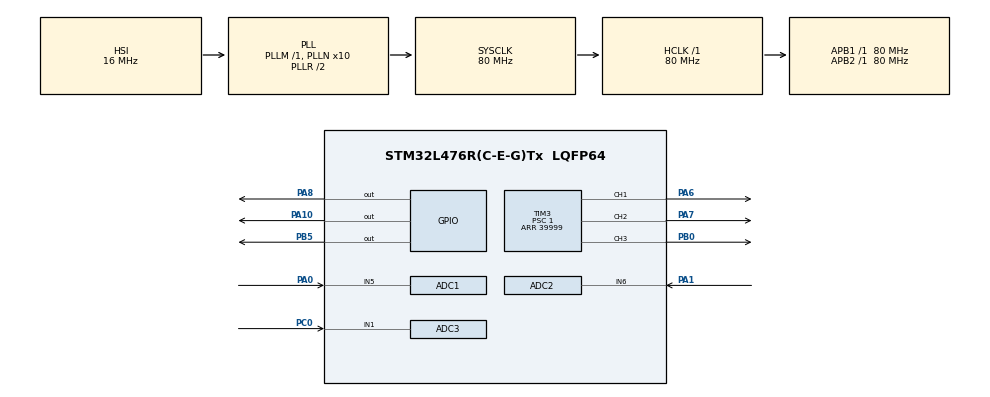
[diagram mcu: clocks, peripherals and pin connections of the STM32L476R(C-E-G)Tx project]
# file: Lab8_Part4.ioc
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ADC1.Channel-0\#ChannelRegularConversion=ADC_CHANNEL_5
ADC1.NbrOfConversionFlag=1
ADC1.OffsetNumber-0\#ChannelRegularConversion=ADC_OFFSET_NONE
ADC1.Rank-0\#ChannelRegularConversion=1
ADC1.SamplingTime-0\#ChannelRegularConversion=ADC_SAMPLETIME_2CYCLES_5
ADC1.master=1
ADC2.Channel-0\#ChannelRegularConversion=ADC_CHANNEL_6
ADC2.NbrOfConversionFlag=1
ADC2.OffsetNumber-0\#ChannelRegularConversion=ADC_OFFSET_NONE
ADC2.Rank-0\#ChannelRegularConversion=1
ADC2.SamplingTime-0\#ChannelRegularConversion=ADC_SAMPLETIME_2CYCLES_5
ADC3.Channel-0\#ChannelRegularConversion=ADC_CHANNEL_1
ADC3.NbrOfConversionFlag=1
ADC3.OffsetNumber-0\#ChannelRegularConversion=ADC_OFFSET_NONE
ADC3.Rank-0\#ChannelRegularConversion=1
ADC3.SamplingTime-0\#ChannelRegularConversion=ADC_SAMPLETIME_2CYCLES_5
Mcu.Family=STM32L4
Mcu.Name=STM32L476R(C-E-G)Tx
Mcu.Package=LQFP64
NVIC.PriorityGroup=NVIC_PRIORITYGROUP_4
NVIC.TIM1_UP_TIM16_IRQn=true\:0\:0\:false\:false\:true\:true\:true\:true
PA0.Signal=ADCx_IN5
PA1.Signal=ADCx_IN6
PA10.Signal=GPIO_Output
PA13\ (JTMS-SWDIO).GPIO_Label=TMS
PA13\ (JTMS-SWDIO).Mode=Serial_Wire
PA13\ (JTMS-SWDIO).Signal=SYS_JTMS-SWDIO
PA14\ (JTCK-SWCLK).GPIO_Label=TCK
PA14\ (JTCK-SWCLK).Mode=Serial_Wire
PA14\ (JTCK-SWCLK).Signal=SYS_JTCK-SWCLK
PA6.Signal=S_TIM3_CH1
PA7.Signal=S_TIM3_CH2
PA8.Signal=GPIO_Output
PB0.Signal=S_TIM3_CH3
PB3\ (JTDO-TRACESWO).GPIO_Label=SWO
PB3\ (JTDO-TRACESWO).Signal=SYS_JTDO-SWO
PB5.Signal=GPIO_Output
PC0.Signal=ADCx_IN1
PC14-OSC32_IN\ (PC14).Mode=LSE-External-Oscillator
PC14-OSC32_IN\ (PC14).Signal=RCC_OSC32_IN
PC15-OSC32_OUT\ (PC15).Mode=LSE-External-Oscillator
PC15-OSC32_OUT\ (PC15).Signal=RCC_OSC32_OUT
PH0-OSC_IN\ (PH0).Signal=RCC_OSC_IN
PH1-OSC_OUT\ (PH1).Signal=RCC_OSC_OUT
ProjectManager.HeapSize=0x200
ProjectManager.StackSize=0x400
ProjectManager.TargetToolchain=STM32CubeIDE
RCC.ADCFreq_Value=64000000
RCC.AHBFreq_Value=80000000
RCC.APB1Freq_Value=80000000
RCC.APB1TimFreq_Value=80000000
RCC.APB2Freq_Value=80000000
RCC.APB2TimFreq_Value=80000000
RCC.CortexFreq_Value=80000000
RCC.HCLKFreq_Value=80000000
RCC.HSE_VALUE=8000000
RCC.HSI_VALUE=16000000
RCC.MSI_VALUE=4000000
RCC.PLLN=10
RCC.PLLSourceVirtual=RCC_PLLSOURCE_HSI
RCC.PREFETCH_ENABLE=1
RCC.SYSCLKFreq_VALUE=80000000
RCC.SYSCLKSource=RCC_SYSCLKSOURCE_PLLCLK
RCC.USBFreq_Value=64000000
RCC.VCOOutputFreq_Value=160000000
SH.ADCx_IN1.0=ADC3_IN1,IN1-Single-Ended
SH.ADCx_IN5.0=ADC1_IN5,IN5-Single-Ended
SH.ADCx_IN6.0=ADC2_IN6,IN6-Single-Ended
SH.S_TIM3_CH1.0=TIM3_CH1,PWM Generation1 CH1
SH.S_TIM3_CH2.0=TIM3_CH2,PWM Generation2 CH2
SH.S_TIM3_CH3.0=TIM3_CH3,PWM Generation3 CH3
TIM16.Period=999
TIM16.Prescaler=7999
TIM3.AutoReloadPreload=TIM_AUTORELOAD_PRELOAD_ENABLE
TIM3.Channel-PWM\ Generation1\ CH1=TIM_CHANNEL_1
TIM3.Channel-PWM\ Generation2\ CH2=TIM_CHANNEL_2
TIM3.Channel-PWM\ Generation3\ CH3=TIM_CHANNEL_3
TIM3.Period=39999
TIM3.Prescaler=1
VP_TIM16_VS_ClockSourceINT.Mode=Enable_Timer
VP_TIM3_VS_ClockSourceINT.Mode=Internal
board=NUCLEO-L476RG

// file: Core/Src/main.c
/* USER CODE BEGIN Header */
/**
  ******************************************************************************
  * @file           : main.c
  * @brief          : Main program body
  ******************************************************************************
  * @attention
  *
  * Copyright (c) 2024 STMicroelectronics.
  * All rights reserved.
  *
  * This software is licensed under terms that can be found in the LICENSE file
  * in the root directory of this software component.
  * If no LICENSE file comes with this software, it is provided AS-IS.
  *
  ******************************************************************************
  */
/* USER CODE END Header */
#include "main.h"

ADC_HandleTypeDef hadc1;
ADC_HandleTypeDef hadc2;
ADC_HandleTypeDef hadc3;

TIM_HandleTypeDef htim3;
TIM_HandleTypeDef htim16;

void SystemClock_Config(void);
void PeriphCommonClock_Config(void);
static void MX_GPIO_Init(void);
static void MX_ADC1_Init(void);
static void MX_ADC2_Init(void);
static void MX_ADC3_Init(void);
static void MX_TIM3_Init(void);
static void MX_TIM16_Init(void);

int main(void)
{

  /* MCU Configuration--------------------------------------------------------*/

  /* Reset of all peripherals, Initializes the Flash interface and the Systick. */
  HAL_Init();

  /* Configure the system clock */
  SystemClock_Config();

  /* Configure the peripherals common clocks */
  PeriphCommonClock_Config();

  /* Initialize all configured peripherals */
  MX_GPIO_Init();
  MX_ADC1_Init();
  MX_ADC2_Init();
  MX_ADC3_Init();
  MX_TIM3_Init();
  MX_TIM16_Init();
  /* USER CODE BEGIN 2 */
  HAL_TIM_Base_Start_IT(&htim16); // Start Timer16
  HAL_TIM_PWM_Start(&htim3, TIM_CHANNEL_1); // start PWM on Timer3’s Channel 1
  HAL_TIM_PWM_Start(&htim3, TIM_CHANNEL_2); // start PWM on Timer3’s Channel 2
  HAL_TIM_PWM_Start(&htim3, TIM_CHANNEL_3); // start PWM on Timer3’s Channel 3
  /* USER CODE END 2 */

  /* Infinite loop */
  while (1)
  {

  }
}

void SystemClock_Config(void)
{
  RCC_OscInitTypeDef RCC_OscInitStruct = {0};
  RCC_ClkInitTypeDef RCC_ClkInitStruct = {0};

  /** Configure the main internal regulator output voltage
  */
  if (HAL_PWREx_ControlVoltageScaling(PWR_REGULATOR_VOLTAGE_SCALE1) != HAL_OK)
  {
    Error_Handler();
  }

  /** Initializes the RCC Oscillators according to the specified parameters
  * in the RCC_OscInitTypeDef structure.
  */
  RCC_OscInitStruct.OscillatorType = RCC_OSCILLATORTYPE_HSI;
  RCC_OscInitStruct.HSIState = RCC_HSI_ON;
  RCC_OscInitStruct.HSICalibrationValue = RCC_HSICALIBRATION_DEFAULT;
  RCC_OscInitStruct.PLL.PLLState = RCC_PLL_ON;
  RCC_OscInitStruct.PLL.PLLSource = RCC_PLLSOURCE_HSI;
  RCC_OscInitStruct.PLL.PLLM = 1;
  RCC_OscInitStruct.PLL.PLLN = 10;
  RCC_OscInitStruct.PLL.PLLP = RCC_PLLP_DIV7;
  RCC_OscInitStruct.PLL.PLLQ = RCC_PLLQ_DIV2;
  RCC_OscInitStruct.PLL.PLLR = RCC_PLLR_DIV2;
  if (HAL_RCC_OscConfig(&RCC_OscInitStruct) != HAL_OK)
  {
    Error_Handler();
  }

  /** Initializes the CPU, AHB and APB buses clocks
  */
  RCC_ClkInitStruct.ClockType = RCC_CLOCKTYPE_HCLK|RCC_CLOCKTYPE_SYSCLK
                              |RCC_CLOCKTYPE_PCLK1|RCC_CLOCKTYPE_PCLK2;
  RCC_ClkInitStruct.SYSCLKSource = RCC_SYSCLKSOURCE_PLLCLK;
  RCC_ClkInitStruct.AHBCLKDivider = RCC_SYSCLK_DIV1;
  RCC_ClkInitStruct.APB1CLKDivider = RCC_HCLK_DIV1;
  RCC_ClkInitStruct.APB2CLKDivider = RCC_HCLK_DIV1;

  if (HAL_RCC_ClockConfig(&RCC_ClkInitStruct, FLASH_LATENCY_4) != HAL_OK)
  {
    Error_Handler();
  }
}

void PeriphCommonClock_Config(void)
{
  RCC_PeriphCLKInitTypeDef PeriphClkInit = {0};

  /** Initializes the peripherals clock
  */
  PeriphClkInit.PeriphClockSelection = RCC_PERIPHCLK_ADC;
  PeriphClkInit.AdcClockSelection = RCC_ADCCLKSOURCE_PLLSAI1;
  PeriphClkInit.PLLSAI1.PLLSAI1Source = RCC_PLLSOURCE_HSI;
  PeriphClkInit.PLLSAI1.PLLSAI1M = 1;
  PeriphClkInit.PLLSAI1.PLLSAI1N = 8;
  PeriphClkInit.PLLSAI1.PLLSAI1P = RCC_PLLP_DIV7;
  PeriphClkInit.PLLSAI1.PLLSAI1Q = RCC_PLLQ_DIV2;
  PeriphClkInit.PLLSAI1.PLLSAI1R = RCC_PLLR_DIV2;
  PeriphClkInit.PLLSAI1.PLLSAI1ClockOut = RCC_PLLSAI1_ADC1CLK;
  if (HAL_RCCEx_PeriphCLKConfig(&PeriphClkInit) != HAL_OK)
  {
    Error_Handler();
  }
}

static void MX_ADC1_Init(void)
{

  ADC_MultiModeTypeDef multimode = {0};
  ADC_ChannelConfTypeDef sConfig = {0};

  /** Common config
  */
  hadc1.Instance = ADC1;
  hadc1.Init.ClockPrescaler = ADC_CLOCK_ASYNC_DIV1;
  hadc1.Init.Resolution = ADC_RESOLUTION_12B;
  hadc1.Init.DataAlign = ADC_DATAALIGN_RIGHT;
  hadc1.Init.ScanConvMode = ADC_SCAN_DISABLE;
  hadc1.Init.EOCSelection = ADC_EOC_SINGLE_CONV;
  hadc1.Init.LowPowerAutoWait = DISABLE;
  hadc1.Init.ContinuousConvMode = DISABLE;
  hadc1.Init.NbrOfConversion = 1;
  hadc1.Init.DiscontinuousConvMode = DISABLE;
  hadc1.Init.ExternalTrigConv = ADC_SOFTWARE_START;
  hadc1.Init.ExternalTrigConvEdge = ADC_EXTERNALTRIGCONVEDGE_NONE;
  hadc1.Init.DMAContinuousRequests = DISABLE;
  hadc1.Init.Overrun = ADC_OVR_DATA_PRESERVED;
  hadc1.Init.OversamplingMode = DISABLE;
  if (HAL_ADC_Init(&hadc1) != HAL_OK)
  {
    Error_Handler();
  }

  /** Configure the ADC multi-mode
  */
  multimode.Mode = ADC_MODE_INDEPENDENT;
  if (HAL_ADCEx_MultiModeConfigChannel(&hadc1, &multimode) != HAL_OK)
  {
    Error_Handler();
  }

  /** Configure Regular Channel
  */
  sConfig.Channel = ADC_CHANNEL_5;
  sConfig.Rank = ADC_REGULAR_RANK_1;
  sConfig.SamplingTime = ADC_SAMPLETIME_2CYCLES_5;
  sConfig.SingleDiff = ADC_SINGLE_ENDED;
  sConfig.OffsetNumber = ADC_OFFSET_NONE;
  sConfig.Offset = 0;
  if (HAL_ADC_ConfigChannel(&hadc1, &sConfig) != HAL_OK)
  {
    Error_Handler();
  }

}

static void MX_ADC2_Init(void)
{

  ADC_ChannelConfTypeDef sConfig = {0};

  /** Common config
  */
  hadc2.Instance = ADC2;
  hadc2.Init.ClockPrescaler = ADC_CLOCK_ASYNC_DIV1;
  hadc2.Init.Resolution = ADC_RESOLUTION_12B;
  hadc2.Init.DataAlign = ADC_DATAALIGN_RIGHT;
  hadc2.Init.ScanConvMode = ADC_SCAN_DISABLE;
  hadc2.Init.EOCSelection = ADC_EOC_SINGLE_CONV;
  hadc2.Init.LowPowerAutoWait = DISABLE;
  hadc2.Init.ContinuousConvMode = DISABLE;
  hadc2.Init.NbrOfConversion = 1;
  hadc2.Init.DiscontinuousConvMode = DISABLE;
  hadc2.Init.ExternalTrigConv = ADC_SOFTWARE_START;
  hadc2.Init.ExternalTrigConvEdge = ADC_EXTERNALTRIGCONVEDGE_NONE;
  hadc2.Init.DMAContinuousRequests = DISABLE;
  hadc2.Init.Overrun = ADC_OVR_DATA_PRESERVED;
  hadc2.Init.OversamplingMode = DISABLE;
  if (HAL_ADC_Init(&hadc2) != HAL_OK)
  {
    Error_Handler();
  }

  /** Configure Regular Channel
  */
  sConfig.Channel = ADC_CHANNEL_6;
  sConfig.Rank = ADC_REGULAR_RANK_1;
  sConfig.SamplingTime = ADC_SAMPLETIME_2CYCLES_5;
  sConfig.SingleDiff = ADC_SINGLE_ENDED;
  sConfig.OffsetNumber = ADC_OFFSET_NONE;
  sConfig.Offset = 0;
  if (HAL_ADC_ConfigChannel(&hadc2, &sConfig) != HAL_OK)
  {
    Error_Handler();
  }

}

static void MX_ADC3_Init(void)
{

  ADC_ChannelConfTypeDef sConfig = {0};

  /** Common config
  */
  hadc3.Instance = ADC3;
  hadc3.Init.ClockPrescaler = ADC_CLOCK_ASYNC_DIV1;
  hadc3.Init.Resolution = ADC_RESOLUTION_12B;
  hadc3.Init.DataAlign = ADC_DATAALIGN_RIGHT;
  hadc3.Init.ScanConvMode = ADC_SCAN_DISABLE;
  hadc3.Init.EOCSelection = ADC_EOC_SINGLE_CONV;
  hadc3.Init.LowPowerAutoWait = DISABLE;
  hadc3.Init.ContinuousConvMode = DISABLE;
  hadc3.Init.NbrOfConversion = 1;
  hadc3.Init.DiscontinuousConvMode = DISABLE;
  hadc3.Init.ExternalTrigConv = ADC_SOFTWARE_START;
  hadc3.Init.ExternalTrigConvEdge = ADC_EXTERNALTRIGCONVEDGE_NONE;
  hadc3.Init.DMAContinuousRequests = DISABLE;
  hadc3.Init.Overrun = ADC_OVR_DATA_PRESERVED;
  hadc3.Init.OversamplingMode = DISABLE;
  if (HAL_ADC_Init(&hadc3) != HAL_OK)
  {
    Error_Handler();
  }

  /** Configure Regular Channel
  */
  sConfig.Channel = ADC_CHANNEL_1;
  sConfig.Rank = ADC_REGULAR_RANK_1;
  sConfig.SamplingTime = ADC_SAMPLETIME_2CYCLES_5;
  sConfig.SingleDiff = ADC_SINGLE_ENDED;
  sConfig.OffsetNumber = ADC_OFFSET_NONE;
  sConfig.Offset = 0;
  if (HAL_ADC_ConfigChannel(&hadc3, &sConfig) != HAL_OK)
  {
    Error_Handler();
  }

}

static void MX_TIM3_Init(void)
{

  TIM_ClockConfigTypeDef sClockSourceConfig = {0};
  TIM_MasterConfigTypeDef sMasterConfig = {0};
  TIM_OC_InitTypeDef sConfigOC = {0};

  htim3.Instance = TIM3;
  htim3.Init.Prescaler = 1;
  htim3.Init.CounterMode = TIM_COUNTERMODE_UP;
  htim3.Init.Period = 39999;
  htim3.Init.ClockDivision = TIM_CLOCKDIVISION_DIV1;
  htim3.Init.AutoReloadPreload = TIM_AUTORELOAD_PRELOAD_ENABLE;
  if (HAL_TIM_Base_Init(&htim3) != HAL_OK)
  {
    Error_Handler();
  }
  sClockSourceConfig.ClockSource = TIM_CLOCKSOURCE_INTERNAL;
  if (HAL_TIM_ConfigClockSource(&htim3, &sClockSourceConfig) != HAL_OK)
  {
    Error_Handler();
  }
  if (HAL_TIM_PWM_Init(&htim3) != HAL_OK)
  {
    Error_Handler();
  }
  sMasterConfig.MasterOutputTrigger = TIM_TRGO_RESET;
  sMasterConfig.MasterSlaveMode = TIM_MASTERSLAVEMODE_DISABLE;
  if (HAL_TIMEx_MasterConfigSynchronization(&htim3, &sMasterConfig) != HAL_OK)
  {
    Error_Handler();
  }
  sConfigOC.OCMode = TIM_OCMODE_PWM1;
  sConfigOC.Pulse = 0;
  sConfigOC.OCPolarity = TIM_OCPOLARITY_HIGH;
  sConfigOC.OCFastMode = TIM_OCFAST_DISABLE;
  if (HAL_TIM_PWM_ConfigChannel(&htim3, &sConfigOC, TIM_CHANNEL_1) != HAL_OK)
  {
    Error_Handler();
  }
  if (HAL_TIM_PWM_ConfigChannel(&htim3, &sConfigOC, TIM_CHANNEL_2) != HAL_OK)
  {
    Error_Handler();
  }
  if (HAL_TIM_PWM_ConfigChannel(&htim3, &sConfigOC, TIM_CHANNEL_3) != HAL_OK)
  {
    Error_Handler();
  }
  HAL_TIM_MspPostInit(&htim3);

}

static void MX_TIM16_Init(void)
{

  htim16.Instance = TIM16;
  htim16.Init.Prescaler = 7999;
  htim16.Init.CounterMode = TIM_COUNTERMODE_UP;
  htim16.Init.Period = 999;
  htim16.Init.ClockDivision = TIM_CLOCKDIVISION_DIV1;
  htim16.Init.RepetitionCounter = 0;
  htim16.Init.AutoReloadPreload = TIM_AUTORELOAD_PRELOAD_DISABLE;
  if (HAL_TIM_Base_Init(&htim16) != HAL_OK)
  {
    Error_Handler();
  }

}

static void MX_GPIO_Init(void)
{
  GPIO_InitTypeDef GPIO_InitStruct = {0};

  /* GPIO Ports Clock Enable */
  __HAL_RCC_GPIOC_CLK_ENABLE();
  __HAL_RCC_GPIOH_CLK_ENABLE();
  __HAL_RCC_GPIOA_CLK_ENABLE();
  __HAL_RCC_GPIOB_CLK_ENABLE();

  /*Configure GPIO pin Output Level */
  HAL_GPIO_WritePin(GPIOA, GPIO_PIN_8|GPIO_PIN_10, GPIO_PIN_RESET);

  /*Configure GPIO pin Output Level */
  HAL_GPIO_WritePin(GPIOB, GPIO_PIN_5, GPIO_PIN_RESET);

  /*Configure GPIO pins : PA8 PA10 */
  GPIO_InitStruct.Pin = GPIO_PIN_8|GPIO_PIN_10;
  GPIO_InitStruct.Mode = GPIO_MODE_OUTPUT_PP;
  GPIO_InitStruct.Pull = GPIO_NOPULL;
  GPIO_InitStruct.Speed = GPIO_SPEED_FREQ_LOW;
  HAL_GPIO_Init(GPIOA, &GPIO_InitStruct);

  /*Configure GPIO pin : PB5 */
  GPIO_InitStruct.Pin = GPIO_PIN_5;
  GPIO_InitStruct.Mode = GPIO_MODE_OUTPUT_PP;
  GPIO_InitStruct.Pull = GPIO_NOPULL;
  GPIO_InitStruct.Speed = GPIO_SPEED_FREQ_LOW;
  HAL_GPIO_Init(GPIOB, &GPIO_InitStruct);

}

/* USER CODE BEGIN 4 */
// Callback: this ISR is triggered whenever a timer has rolled over
void HAL_TIM_PeriodElapsedCallback(TIM_HandleTypeDef *htim)
{
 // Check which timer triggered this callback
 if (htim == &htim16) // if the triggered timer was Timer 16
 {
 int PWM_PERIOD = 40000;
 int ADC_RANGE = 4096; // 2^12 (12-bit resolution)
 // Start ADC Conversions
 HAL_ADC_Start(&hadc1);
 HAL_ADC_Start(&hadc2);
 HAL_ADC_Start(&hadc3);
 // Wait for ADC conversions to complete
 HAL_ADC_PollForConversion(&hadc1, HAL_MAX_DELAY);
 HAL_ADC_PollForConversion(&hadc2, HAL_MAX_DELAY);
 HAL_ADC_PollForConversion(&hadc3, HAL_MAX_DELAY);
 // Read ADC values
 uint16_t knob_measurement = HAL_ADC_GetValue(&hadc1);
 uint16_t xjoy_measurement = HAL_ADC_GetValue(&hadc2);
 uint16_t yjoy_measurement = HAL_ADC_GetValue(&hadc3);
 // Convert ADC levels to a fraction of total
 float knob_value = ((float) knob_measurement) / ADC_RANGE;
 float xjoy_value = ((float) xjoy_measurement) / ADC_RANGE;
 float yjoy_value = ((float) yjoy_measurement) / ADC_RANGE;
 // Write the PWM duty cycle values for the tri-color RGB LED
 TIM3->CCR1 = (int) (knob_value * PWM_PERIOD); // red
 TIM3->CCR2 = (int) (xjoy_value * PWM_PERIOD); // green
 TIM3->CCR3 = (int) (yjoy_value * PWM_PERIOD); // blue
 // Use the three single-color LEDs as the three
 // most-significant bits of the knob measurement
 if ((knob_measurement & (1 << 11)) != 0){
		HAL_GPIO_WritePin(GPIOA, GPIO_PIN_10, GPIO_PIN_SET);
 }
 else {
	 HAL_GPIO_WritePin(GPIOA, GPIO_PIN_10, GPIO_PIN_RESET);
 }
 if ((knob_measurement & (1 << 10)) != 0){
 		HAL_GPIO_WritePin(GPIOB, GPIO_PIN_5, GPIO_PIN_SET);
 }
 else {
 	    HAL_GPIO_WritePin(GPIOB, GPIO_PIN_5, GPIO_PIN_RESET);
  }
  if ((knob_measurement & (1 << 9)) != 0){
		HAL_GPIO_WritePin(GPIOA, GPIO_PIN_8, GPIO_PIN_SET);
  }
  else{
		HAL_GPIO_WritePin(GPIOA, GPIO_PIN_8, GPIO_PIN_RESET);
 	 }
 }
}
/* USER CODE END 4 */

void Error_Handler(void)
{
  __disable_irq();
  while (1)
  {
  }
}
